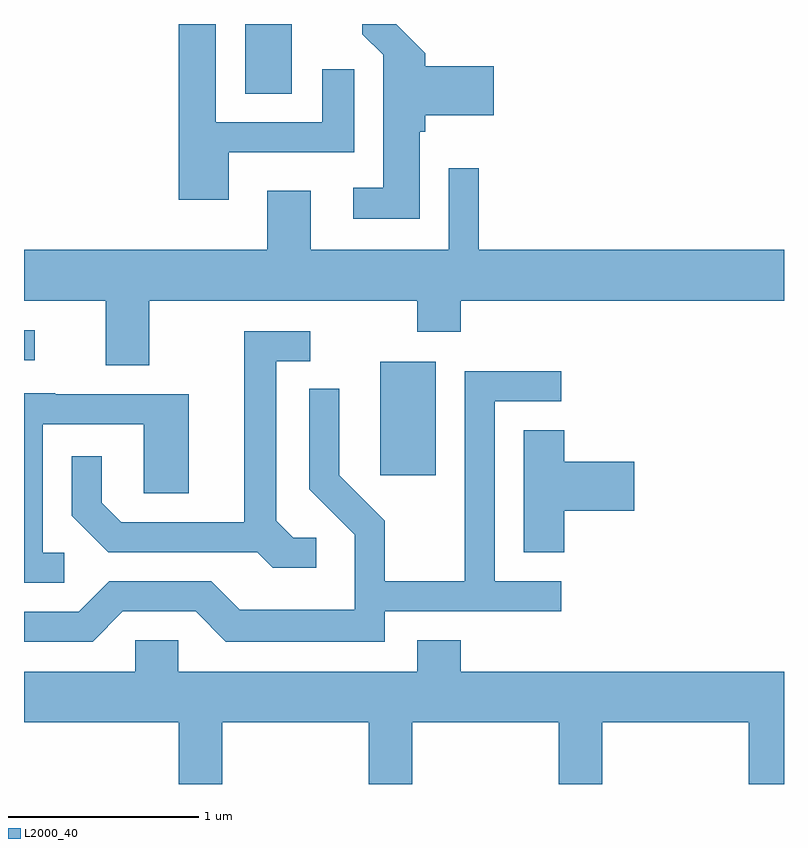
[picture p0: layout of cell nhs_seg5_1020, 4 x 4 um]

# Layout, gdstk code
import gdstk
lib = gdstk.Library(unit=1e-6, precision=1e-09)
def R(c, l, rs):  # rectangles x0, y0, x1, y1
    for r in rs: c.add(gdstk.rectangle(r[:2], r[2:], *l))
def P(c, l, *ps):  # polygons
    for p in ps: c.add(gdstk.Polygon(p, *l))
L2000_40 = (2000, 40)

nhs_seg5_1020 = lib.new_cell('nhs_seg5_1020')
R(nhs_seg5_1020, L2000_40, [(217.486,1413.696,217.779,1414.294), (215.611,1414.301,215.668,1414.459), (216.776,1415.706,217.019,1416.072)])
P(nhs_seg5_1020, L2000_40, [(217.694,1415.506),(217.724,1415.506),(217.724,1415.591),(218.084,1415.591),(218.084,1415.849),(217.724,1415.849),(217.724,1415.917),(217.569,1416.072),(217.391,1416.072),(217.391,1416.019),(217.501,1415.909),(217.501,1415.209),(217.343,1415.209),(217.343,1415.046),(217.694,1415.046)],
  [(216.689,1415.396),(217.349,1415.396),(217.349,1415.833),(217.181,1415.833),(217.181,1415.554),(216.619,1415.554),(216.619,1416.072),(216.426,1416.072),(216.426,1415.146),(216.689,1415.146)],
  [(216.269,1414.616),(217.681,1414.616),(217.681,1414.451),(217.909,1414.451),(217.909,1414.616),(219.611,1414.616),(219.611,1414.884),(218.004,1414.884),(218.004,1415.313),(217.846,1415.313),(217.846,1414.884),(217.119,1414.884),(217.119,1415.194),(216.891,1415.194),(216.891,1414.884),(215.611,1414.884),(215.611,1414.616),(216.041,1414.616),(216.041,1414.276),(216.269,1414.276)],
  [(217.148,1413.369),(217.027,1413.369),(216.939,1413.457),(216.939,1414.296),(217.118,1414.296),(217.118,1414.454),(216.771,1414.454),(216.771,1413.449),(216.122,1413.449),(216.019,1413.552),(216.019,1413.798),(215.861,1413.798),(215.861,1413.484),(216.054,1413.291),(216.839,1413.291),(216.919,1413.211),(217.148,1413.211)],
  [(216.132,1412.981),(216.514,1412.981),(216.674,1412.821),(217.509,1412.821),(217.509,1412.981),(218.438,1412.981),(218.438,1413.139),(218.089,1413.139),(218.089,1414.086),(218.438,1414.086),(218.438,1414.244),(217.931,1414.244),(217.931,1413.139),(217.509,1413.139),(217.509,1413.457),(217.269,1413.697),(217.269,1414.153),(217.111,1414.153),(217.111,1413.624),(217.351,1413.384),(217.351,1412.989),(216.747,1412.989),(216.597,1413.139),(216.059,1413.139),(215.899,1412.979),(215.611,1412.979),(215.611,1412.821),(215.972,1412.821)],
  [(215.823,1413.289),(215.709,1413.289),(215.709,1413.966),(216.241,1413.966),(216.241,1413.601),(216.479,1413.601),(216.479,1414.124),(215.775,1414.124),(215.775,1414.129),(215.611,1414.129),(215.611,1413.131),(215.823,1413.131)],
  [(218.454,1413.511),(218.824,1413.511),(218.824,1413.769),(218.454,1413.769),(218.454,1413.934),(218.241,1413.934),(218.241,1413.291),(218.454,1413.291)],
  [(216.654,1412.396),(217.426,1412.396),(217.426,1412.072),(217.654,1412.072),(217.654,1412.396),(218.426,1412.396),(218.426,1412.072),(218.654,1412.072),(218.654,1412.396),(219.426,1412.396),(219.426,1412.072),(219.611,1412.072),(219.611,1412.664),(217.909,1412.664),(217.909,1412.829),(217.681,1412.829),(217.681,1412.664),(216.424,1412.664),(216.424,1412.829),(216.196,1412.829),(216.196,1412.664),(215.611,1412.664),(215.611,1412.396),(216.426,1412.396),(216.426,1412.072),(216.654,1412.072)])

lib.write_gds('nhs_seg5_1020.gds')
